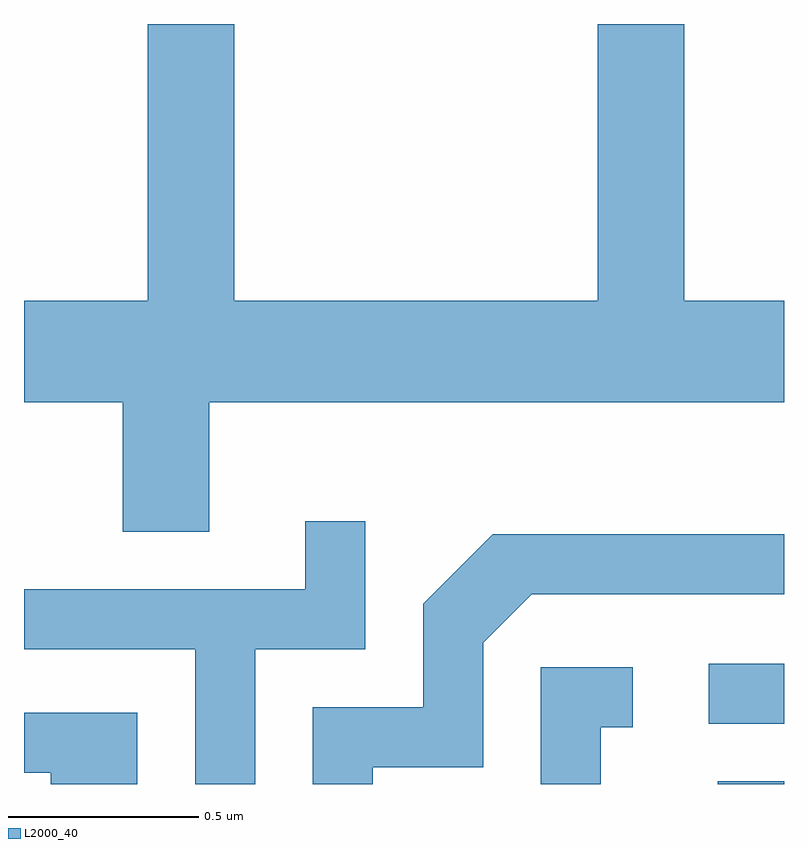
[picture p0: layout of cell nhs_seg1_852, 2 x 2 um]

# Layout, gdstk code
import gdstk
lib = gdstk.Library(unit=1e-6, precision=1e-09)
def R(c, l, rs):  # rectangles x0, y0, x1, y1
    for r in rs: c.add(gdstk.rectangle(r[:2], r[2:], *l))
def P(c, l, *ps):  # polygons
    for p in ps: c.add(gdstk.Polygon(p, *l))
L2000_40 = (2000, 40)

nhs_seg1_852 = lib.new_cell('nhs_seg1_852')
R(nhs_seg1_852, L2000_40, [(193.436,869.712,193.611,869.719), (193.413,869.871,193.611,870.029)])
P(nhs_seg1_852, L2000_40, [(192.099,870.716),(193.611,870.716),(193.611,870.984),(193.349,870.984),(193.349,871.712),(193.121,871.712),(193.121,870.984),(192.164,870.984),(192.164,871.712),(191.936,871.712),(191.936,870.984),(191.611,870.984),(191.611,870.716),(191.871,870.716),(191.871,870.376),(192.099,870.376)],
  [(192.219,870.066),(192.509,870.066),(192.509,870.403),(192.351,870.403),(192.351,870.224),(191.611,870.224),(191.611,870.066),(192.061,870.066),(192.061,869.712),(192.219,869.712)],
  [(192.529,869.756),(192.819,869.756),(192.819,870.084),(192.947,870.211),(193.611,870.211),(193.611,870.369),(192.844,870.369),(192.661,870.187),(192.661,869.914),(192.371,869.914),(192.371,869.712),(192.529,869.712)],
  [(193.129,869.861),(193.213,869.861),(193.213,870.019),(192.971,870.019),(192.971,869.712),(193.129,869.712)],
  [(191.909,869.899),(191.611,869.899),(191.611,869.741),(191.681,869.741),(191.681,869.712),(191.909,869.712)])

lib.write_gds('nhs_seg1_852.gds')
